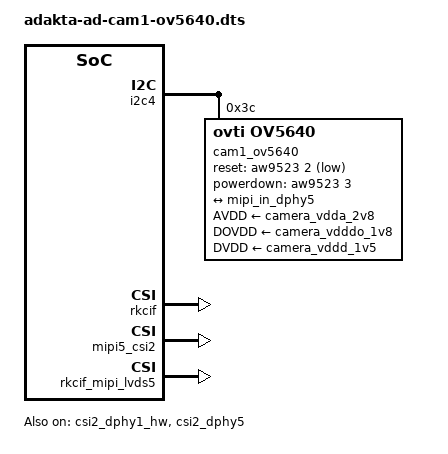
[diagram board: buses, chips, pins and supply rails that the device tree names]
/dts-v1/;
/plugin/;

#include <dt-bindings/clock/rk3588-cru.h>
#include <dt-bindings/power/rk3588-power.h>
#include <dt-bindings/gpio/gpio.h>
#include <dt-bindings/pinctrl/rockchip.h>

/ {
	metadata {
		title = "Enable OV5640 MIPI-CSI Camera 1";
		compatible = "adakta,adakta-ad-rk3588";
		category = "camera";
		description = "Enable OV5640 MIPI-CSI Camera 1";
	};

	fragment@0 {
		target = <&i2c4>;

		__overlay__ {
			status = "okay";

			cam1_ov5640: cam1_ov5640@3c {
				status = "okay";

				compatible = "ovti,ov5640";
				reg = <0x3c>;

				power-domains = <&power RK3588_PD_VI>;
				rockchip,grf = <&sys_grf>;

				pinctrl-names = "default";
				pinctrl-0 = <&mipim0_camera2_clk &aw9523_cam1_powerdown_pins &aw9523_cam1_reset_pins>;

				reset-gpios = <&aw9523 2 GPIO_ACTIVE_LOW>;
				powerdown-gpios = <&aw9523 3 GPIO_ACTIVE_HIGH>;

				clocks = <&cru CLK_MIPI_CAMARAOUT_M2>;
				clock-names = "xclk";

				AVDD-supply = <&camera_vdda_2v8>;
				DOVDD-supply = <&camera_vdddo_1v8>;
				DVDD-supply = <&camera_vddd_1v5>;

				rockchip,camera-module-index = <1>;
				rockchip,camera-module-facing = "back";
				rockchip,camera-module-name = "KLT-KD6-OV5640";
				rockchip,camera-module-lens-name = "default";

				port {
					cam1_ov5640_out: endpoint {
						remote-endpoint = <&mipi_in_dphy5>;
						data-lanes = <1 2>;
					};
				};
			};
		};
	};

	fragment@1 {
		target = <&mipi_in_dphy5>;

		__overlay__ {
			remote-endpoint = <&cam1_ov5640_out>;
			data-lanes = <1 2>;
		};
	};

	fragment@2 {
		target = <&rkcif>;

		__overlay__ {
			status = "okay";
		};
	};

	fragment@3 {
		target = <&rkcif_mmu>;

		__overlay__ {
			status = "okay";
		};
	};

	fragment@4 {
		target = <&csi2_dphy1_hw>;

		__overlay__ {
			status = "okay";
		};
	};

	fragment@5 {
		target = <&csi2_dphy5>;

		__overlay__ {
			status = "okay";
		};
	};

	fragment@6 {
		target = <&mipi5_csi2>;

		__overlay__ {
			status = "okay";
		};
	};

	fragment@7 {
		target = <&rkcif_mipi_lvds5>;

		__overlay__ {
			status = "okay";
		};
	};
};
